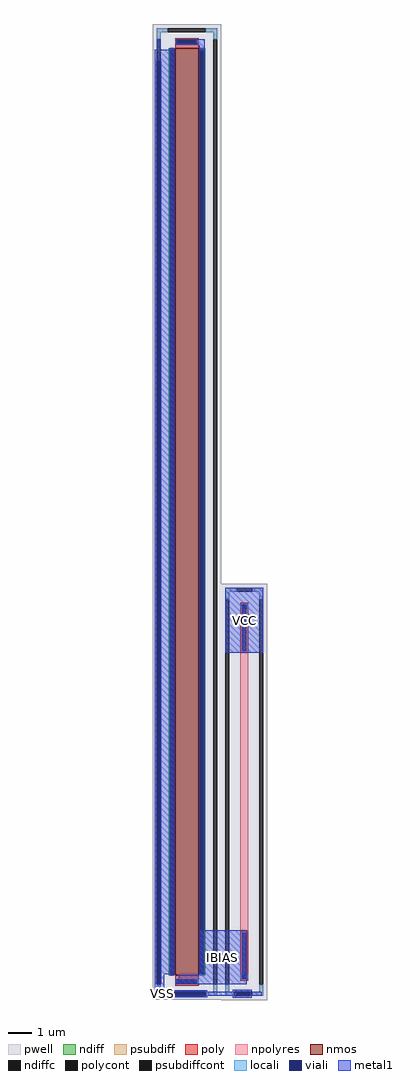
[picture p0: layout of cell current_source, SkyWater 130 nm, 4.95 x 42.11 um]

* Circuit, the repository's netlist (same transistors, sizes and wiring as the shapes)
** sch_path: /home/dmatkin/tt07-dual-oscillator/xschem/current_source.sch
.subckt current_source VCC VSS IBIAS
*.PININFO VCC:B VSS:B IBIAS:O
XM3 IBIAS IBIAS VSS VSS sky130_fd_pr__nfet_01v8 L=1 W=40 nf=1 m=1
XR1 IBIAS VCC VSS sky130_fd_pr__res_xhigh_po W=1 L=9 mult=1 m=1
.ends
.end

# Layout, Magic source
magic
tech sky130A
magscale 1 2
<< pwell >>
rect 636 564 802 632
<< viali >>
rect -18 678 16 8654
rect 78 582 406 616
rect 652 582 790 616
<< metal1 >>
rect -18 8744 16 8834
rect 320 8788 394 8834
rect -34 8654 130 8744
rect 348 8736 394 8788
rect -34 678 -18 8654
rect 16 768 130 8654
rect 572 3540 902 4102
rect 16 678 46 768
rect 348 760 756 1144
rect 170 726 756 760
rect 158 682 756 726
rect -34 628 46 678
rect -34 616 416 628
rect 636 616 802 632
rect -34 582 78 616
rect 406 582 652 616
rect 790 582 886 616
rect -34 568 416 582
rect 636 564 802 582
use sky130_fd_pr__res_generic_po_A9B8VS  sky130_fd_pr__res_generic_po_A9B8VS_0
transform 1 0 737 0 1 2340
box -199 -1796 199 1796
use sky130_fd_pr__nfet_01v8_Q7E5KY  XM3
transform 1 0 242 0 1 4756
box -296 -4210 296 4210
<< labels >>
flabel metal1 -34 568 98 628 0 FreeSans 480 0 0 0 VSS
port 3 nsew
flabel metal1 572 3540 902 4102 0 FreeSans 480 0 0 0 VCC
port 4 nsew
flabel metal1 348 682 756 1144 0 FreeSans 1600 0 0 0 IBIAS
port 5 nsew
<< end >>

# cell sky130_fd_pr__res_generic_po_A9B8VS: kit device sky130_fd_pr__res_generic_po, w 0.330 l 12 m 1 nx 1 wmin 0.330 lmin 1.650 rho 48.2 val 1.752k dummy 0 dw 0.0 term 0.0 sterm 0.0 caplen 0.4 snake 0 guard 1 glc 1 grc 1 gtc 1 gbc 1 roverlap 0 endcov 100 full_metal 1 hv_guard 0 n_guard 0 vias 1 viagb 0 viagt 0 viagl 0 viagr 0

# cell sky130_fd_pr__nfet_01v8_Q7E5KY: kit device sky130_fd_pr__nfet_01v8, w 40.0 l 1.0 m 1 nf 1 diffcov 100 polycov 100 guard 1 glc 1 grc 1 gtc 1 gbc 1 tbcov 100 rlcov 100 topc 1 botc 1 poverlap 0 doverlap 1 lmin 0.15 wmin 0.42 compatible {sky130_fd_pr__nfet_01v8 sky130_fd_pr__nfet_01v8_lvt sky130_fd_bs_flash__special_sonosfet_star sky130_fd_pr__nfet_g5v0d10v5 sky130_fd_pr__nfet_05v0_nvt sky130_fd_pr__nfet_03v3_nvt} full_metal 1 viasrc 100 viadrn 100 viagate 100 viagb 0 viagr 0 viagl 0 viagt 0
